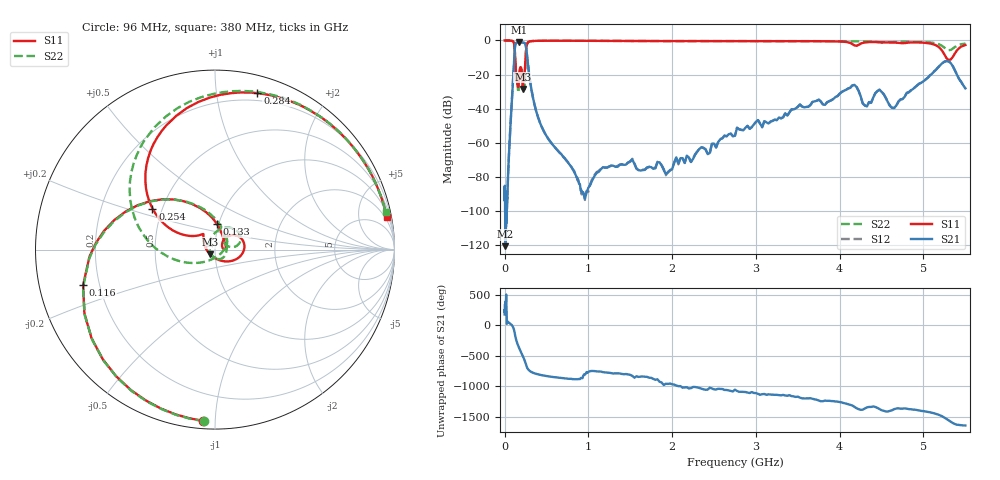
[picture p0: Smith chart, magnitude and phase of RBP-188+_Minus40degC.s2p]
! Mini-Circuits
! S2P DATA File Format
! Type: BAND PASS FILTER
! Model: RBP-188+
! All S Parameters are in dB deg format
! TEST CONDITIONS: INPUT POWER = 0 dBm @ Temperature = -40deg C
! 500 Frequency points
# MHz S dB R 50
!Frequency  S11 dB  S11 DEG  S21 dB  S21 DEG  S12 dB  S12 DEG  S22 dB  S22 DEG
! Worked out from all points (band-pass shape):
!   500 points, 1 MHz to 5.5 GHz, reference 50 ohm
!   highest |S21| = -1.10 dB at 169 MHz (marker M1); lowest = -120.5 dB at 10 MHz (marker M2)
!   |S21| within 3 dB of the highest: 123.5 MHz to 257.3 MHz (133.8 MHz wide, 70.3 % of centre)
!   lowest |S11| = -28.5 dB at 218 MHz (marker M3), VSWR 1.08, Z = 47.3 - j2.5 ohm
!   |S11| at or under -10 dB: 127.1 MHz to 250.9 MHz (123.8 MHz wide, 65.5 % of centre); 5.27 GHz to 5.344 GHz (73.84 MHz wide, 1.39 % of centre)
!   |S22| runs from -30.6 to 0.0 dB; largest |S21 - S12| = 0.001
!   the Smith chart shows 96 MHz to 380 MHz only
!   S11 on the Smith chart (normalised r, x): 96 MHz: 0.04, -0.93; 116 MHz: 0.14, -0.13; 133 MHz: 0.98, +0.29; 254 MHz: 0.44, +0.24; 284 MHz: 0.14, +1.30; 380 MHz: 1, +10
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1  0.00 -0.7  -86.52 177.9  -88.61 -9.9  0.00 -0.7
10  0.00 -6.6  -120.55 -104.8  -103.12 -7.2  0.00 -6.6
42  -0.02 -29.1  -79.13 56.5  -78.71 52.7  -0.02 -29.0
96  -0.39 -94.1  -27.67 -13.4  -27.67 -13.4  -0.37 -93.7
116  -2.37 -164.9  -9.16 -88.6  -9.16 -88.6  -2.33 -164.1
133  -16.80 86.1  -1.83 156.1  -1.83 156.1  -17.66 74.6
148  -24.13 14.5  -1.26 83.7  -1.27 83.7  -23.91 -43.1
169  -23.83 46.3  -1.10 7.0  -1.10 7.0  -26.16 127.5
195  -15.76 1.8  -1.19 -72.9  -1.19 -72.9  -15.89 29.4
218  -28.48 -135.5  -1.19 -141.4  -1.19 -141.4  -23.79 31.7
241  -18.23 140.0  -1.60 142.3  -1.60 142.3  -28.51 -50.3
254  -7.60 146.7  -3.15 87.6  -3.16 87.6  -8.50 172.6
284  -0.88 74.8  -15.81 -3.4  -15.81 -3.4  -0.94 80.2
380  -0.23 10.8  -41.77 -74.0  -41.77 -74.0  -0.24 12.4
920  -0.19 -88.9  -87.97 -141.1  -90.15 -144.2  -0.19 -88.3
1850  -0.36 155.7  -71.41 158.2  -71.39 159.9  -0.35 157.4
2775  -0.36 51.7  -51.18 6.7  -51.15 6.3  -0.37 54.0
3675  -0.42 -48.9  -36.05 -121.5  -36.03 -121.8  -0.40 -45.3
4150  -2.09 -113.4  -26.39 129.7  -26.40 129.5  -0.56 -101.6
4600  -1.16 -160.9  -38.33 41.0  -38.33 40.8  -1.04 -155.9
5250  -8.25 89.3  -12.43 -69.0  -12.43 -69.0  -4.19 108.8
5500  -2.67 118.2  -28.10 162.7  -28.09 162.6  -1.79 104.3
